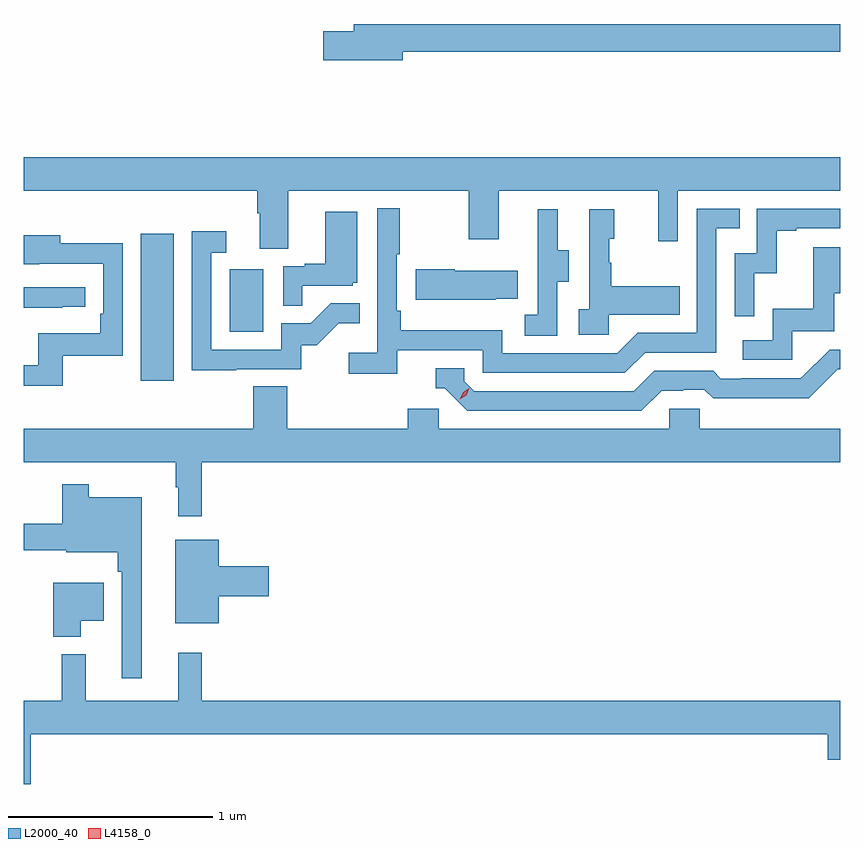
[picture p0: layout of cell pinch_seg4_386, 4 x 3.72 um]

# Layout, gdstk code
import gdstk
lib = gdstk.Library(unit=1e-6, precision=1e-09)
def R(c, l, rs):  # rectangles x0, y0, x1, y1
    for r in rs: c.add(gdstk.rectangle(r[:2], r[2:], *l))
def P(c, l, *ps):  # polygons
    for p in ps: c.add(gdstk.Polygon(p, *l))
L2000_40 = (2000, 40)
L4158_0 = (4158, 0)

pinch_seg4_386 = lib.new_cell('pinch_seg4_386')
R(pinch_seg4_386, L2000_40, [(993.833,783.9,993.994,784.621), (994.268,784.14,994.432,784.447)])
P(pinch_seg4_386, L2000_40, [(995.116,785.512),(997.26,785.512),(997.26,785.648),(994.877,785.648),(994.877,785.612),(994.728,785.612),(994.728,785.47),(995.116,785.47)],
  [(994.555,784.832),(995.44,784.832),(995.44,784.593),(995.587,784.593),(995.587,784.832),(996.368,784.832),(996.368,784.584),(996.465,784.584),(996.465,784.832),(997.26,784.832),(997.26,784.996),(993.26,784.996),(993.26,784.832),(994.403,784.832),(994.403,784.72),(994.415,784.72),(994.415,784.546),(994.555,784.546)],
  [(995.09,784.05),(995.508,784.05),(995.508,783.939),(996.205,783.939),(996.304,784.038),(996.654,784.038),(996.654,784.647),(996.767,784.647),(996.767,784.743),(996.558,784.743),(996.558,784.134),(996.267,784.134),(996.168,784.035),(995.604,784.035),(995.604,784.147),(995.108,784.147),(995.108,784.243),(995.088,784.243),(995.088,784.519),(995.101,784.519),(995.101,784.744),(994.992,784.744),(994.992,784.036),(994.851,784.036),(994.851,783.934),(995.09,783.934)],
  [(996.84,784.427),(996.95,784.427),(996.95,784.635),(997.045,784.635),(997.045,784.647),(997.26,784.647),(997.26,784.743),(996.852,784.743),(996.852,784.524),(996.744,784.524),(996.744,784.215),(996.84,784.215)],
  [(996.126,784.223),(996.473,784.223),(996.473,784.363),(996.139,784.363),(996.139,784.478),(996.129,784.478),(996.129,784.596),(996.154,784.596),(996.154,784.741),(996.03,784.741),(996.03,784.25),(995.979,784.25),(995.979,784.125),(996.126,784.125)],
  [(995.874,784.384),(995.929,784.384),(995.929,784.539),(995.875,784.539),(995.875,784.741),(995.777,784.741),(995.777,784.527),(995.778,784.527),(995.778,784.223),(995.715,784.223),(995.715,784.12),(995.874,784.12)],
  [(994.625,784.365),(994.872,784.365),(994.872,784.38),(994.894,784.38),(994.894,784.729),(994.736,784.729),(994.736,784.474),(994.637,784.474),(994.637,784.461),(994.53,784.461),(994.53,784.267),(994.625,784.267)],
  [(994.301,783.957),(994.62,783.957),(994.62,784.074),(994.696,784.074),(994.803,784.181),(994.907,784.181),(994.907,784.28),(994.763,784.28),(994.665,784.182),(994.521,784.182),(994.521,784.053),(994.179,784.053),(994.179,784.527),(994.252,784.527),(994.252,784.633),(994.083,784.633),(994.083,783.952),(994.301,783.952)],
  [(993.451,784.023),(993.744,784.023),(993.744,784.574),(993.439,784.574),(993.439,784.612),(993.26,784.612),(993.26,784.472),(993.335,784.472),(993.335,784.473),(993.648,784.473),(993.648,784.228),(993.635,784.228),(993.635,784.132),(993.33,784.132),(993.33,783.977),(993.26,783.977),(993.26,783.876),(993.451,783.876)],
  [(997.026,784.143),(997.231,784.143),(997.231,784.329),(997.26,784.329),(997.26,784.555),(997.129,784.555),(997.129,784.252),(996.93,784.252),(996.93,784.098),(996.783,784.098),(996.783,784.002),(997.026,784.002)],
  [(995.573,784.301),(995.681,784.301),(995.681,784.438),(995.371,784.438),(995.371,784.446),(995.18,784.446),(995.18,784.298),(995.573,784.298)],
  [(993.449,784.263),(993.562,784.263),(993.562,784.359),(993.26,784.359),(993.26,784.258),(993.449,784.258)],
  [(996.385,783.852),(996.492,783.852),(996.492,783.855),(996.595,783.855),(996.637,783.813),(996.87,783.813),(996.87,783.815),(997.106,783.815),(997.248,783.957),(997.26,783.957),(997.26,784.053),(997.209,784.053),(997.068,783.912),(996.775,783.912),(996.775,783.909),(996.676,783.909),(996.637,783.948),(996.348,783.948),(996.249,783.849),(995.466,783.849),(995.418,783.897),(995.418,783.96),(995.279,783.96),(995.279,783.864),(995.322,783.864),(995.433,783.753),(996.286,783.753)],
  [(994.133,783.5),(997.26,783.5),(997.26,783.664),(996.573,783.664),(996.573,783.762),(996.423,783.762),(996.423,783.664),(995.292,783.664),(995.292,783.762),(995.141,783.762),(995.141,783.664),(994.55,783.664),(994.55,783.872),(994.385,783.872),(994.385,783.664),(993.26,783.664),(993.26,783.5),(994.005,783.5),(994.005,783.377),(994.016,783.377),(994.016,783.237),(994.133,783.237)],
  [(993.838,783.328),(993.577,783.328),(993.577,783.394),(993.448,783.394),(993.448,783.199),(993.26,783.199),(993.26,783.07),(993.467,783.07),(993.467,783.059),(993.721,783.059),(993.721,782.963),(993.741,782.963),(993.741,782.442),(993.838,782.442)],
  [(994.216,782.843),(994.459,782.843),(994.459,782.99),(994.216,782.99),(994.216,783.121),(994.001,783.121),(994.001,782.711),(994.216,782.711)],
  [(993.538,782.723),(993.652,782.723),(993.652,782.911),(993.404,782.911),(993.404,782.645),(993.538,782.645)],
  [(993.293,782.168),(997.199,782.168),(997.199,782.044),(997.26,782.044),(997.26,782.332),(994.133,782.332),(994.133,782.566),(994.016,782.566),(994.016,782.332),(993.563,782.332),(993.563,782.56),(993.445,782.56),(993.445,782.332),(993.26,782.332),(993.26,781.924),(993.293,781.924)])
P(pinch_seg4_386, L4158_0, [(995.396,783.81),(995.396,783.81),(995.412,783.843),(995.442,783.863),(995.442,783.863),(995.442,783.862),(995.427,783.83),(995.396,783.81)])

lib.write_gds('pinch_seg4_386.gds')
